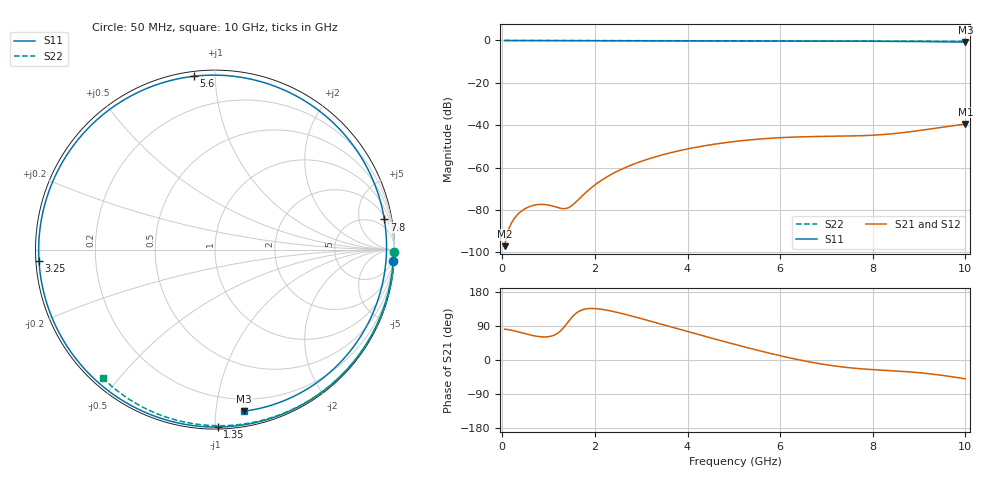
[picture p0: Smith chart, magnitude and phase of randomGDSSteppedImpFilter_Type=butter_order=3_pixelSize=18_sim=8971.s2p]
! freq	dB(S11)	phase(S11)	dB(S12)	phase(S12)
!  dB(S21)	phase(S21)	dB(S22)	phase(S22)
!S-par simulation data
#  GHz  S  DB  R 50
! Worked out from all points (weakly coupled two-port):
!   200 points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, 50 MHz to 10 GHz, reference 50 ohm
!   highest |S21| = -39.40 dB at 10 GHz (marker M1); lowest = -97.1 dB at 50 MHz (marker M2)
!   lowest |S11| = -0.8 dB at 10 GHz (marker M3), VSWR 22.53, Z = 5.38 - j59.5 ohm
!   |S11| at or under -10 dB: nowhere
!   |S22| runs from -0.4 to 0.0 dB; largest |S21 - S12| = 0
!   S11 on the Smith chart (normalised r, x): 50 MHz: 2, -32; 1.35 GHz: 0.01, -1.01; 3.25 GHz: 0.01, -0.03; 5.6 GHz: 0.02, +0.88; 7.8 GHz: 3, +11; 10 GHz: 0.11, -1.19
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0.05  -0.04 -3.6  -97.06 81.2  -97.06 81.2  -0.00 -0.7
0.4  -0.05 -28.5  -80.73 72.3  -80.73 72.3  -0.01 -6.0
0.75  -0.07 -52.3  -77.48 62.5  -77.48 62.5  -0.01 -11.3
1.05  -0.08 -71.4  -77.90 62.7  -77.90 62.7  -0.02 -15.8
1.35  -0.10 -89.2  -79.36 89.3  -79.36 89.3  -0.03 -20.2
1.5  -0.10 -97.5  -77.95 112.4  -77.95 112.4  -0.03 -22.4
1.75  -0.11 -110.7  -72.83 133.1  -72.83 133.1  -0.03 -26.1
2.1  -0.12 -127.9  -66.59 134.5  -66.59 134.5  -0.04 -31.2
2.5  -0.13 -145.8  -61.54 125.1  -61.54 125.1  -0.05 -37.0
3.25  -0.15 -176.2  -55.27 100.8  -55.27 100.8  -0.06 -47.6
3.4  -0.15 178.0  -54.32 95.7  -54.32 95.7  -0.07 -49.7
4.2  -0.18 148.5  -50.34 68.5  -50.34 68.5  -0.09 -60.7
5.05  -0.21 117.5  -47.59 40.3  -47.59 40.3  -0.11 -72.0
5.6  -0.24 97.1  -46.44 23.1  -46.44 23.1  -0.13 -79.1
6.15  -0.26 76.1  -45.71 7.2  -45.71 7.2  -0.15 -86.0
6.7  -0.29 54.5  -45.34 -6.5  -45.34 -6.5  -0.18 -92.8
7.3  -0.33 30.4  -45.16 -17.8  -45.16 -17.8  -0.21 -100.0
7.8  -0.37 10.1  -44.91 -23.8  -44.91 -23.8  -0.25 -105.9
8.35  -0.43 -12.3  -44.17 -27.9  -44.17 -27.9  -0.29 -112.3
8.8  -0.49 -30.7  -43.10 -31.5  -43.10 -31.5  -0.32 -117.5
9.25  -0.58 -48.9  -41.75 -36.7  -41.75 -36.7  -0.37 -122.6
10  -0.77 -79.8  -39.40 -49.8  -39.40 -49.8  -0.44 -131.0
